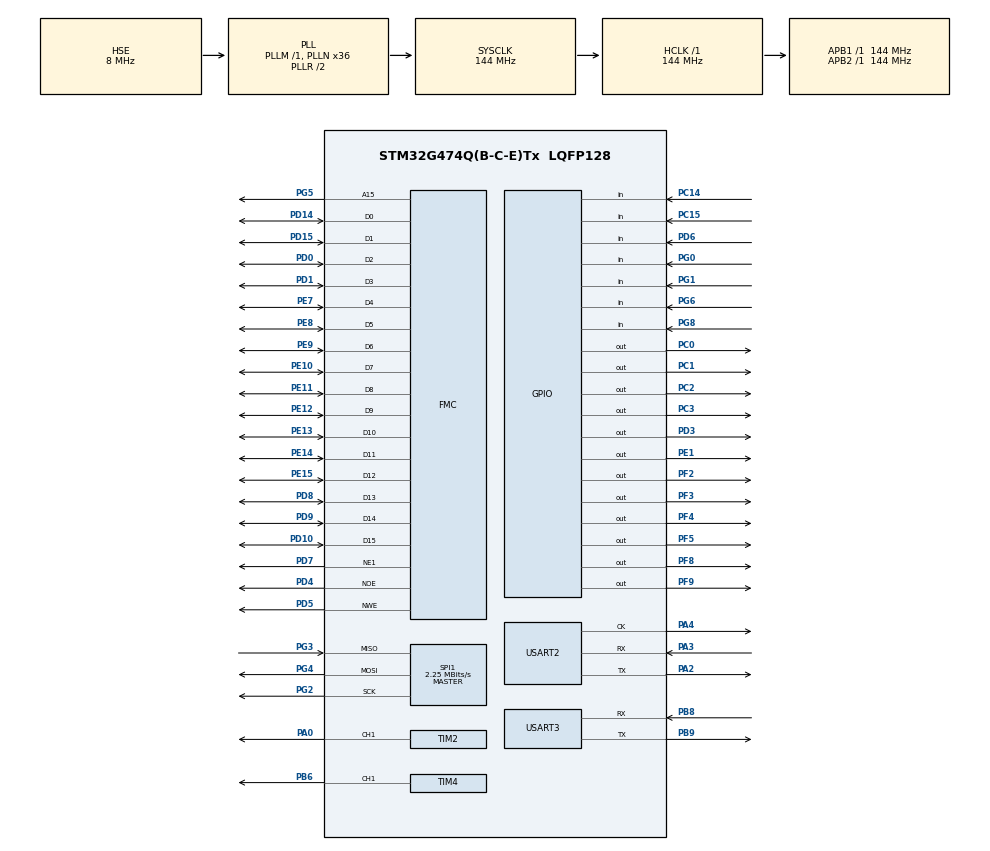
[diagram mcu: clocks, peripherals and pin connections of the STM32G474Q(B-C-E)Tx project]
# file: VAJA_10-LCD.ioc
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FMC.AddressSetupTime1=1
FMC.BusTurnAroundDuration1=1
FMC.DataHoldTime1=1
FMC.DataSetupTime1=1
Mcu.Family=STM32G4
Mcu.Name=STM32G474Q(B-C-E)Tx
Mcu.Package=LQFP128
NVIC.PriorityGroup=NVIC_PRIORITYGROUP_4
NVIC.TIM6_DAC_IRQn=true\:15\:0\:true\:false\:true\:true\:true\:true
NVIC.USART3_IRQn=true\:0\:0\:false\:false\:true\:true\:true\:true
PA0.Signal=S_TIM2_CH1
PA2.Mode=Synchronous
PA2.Signal=USART2_TX
PA3.Mode=Synchronous
PA3.Signal=USART2_RX
PA4.Mode=Synchronous
PA4.Signal=USART2_CK
PB6.Signal=S_TIM4_CH1
PB8-BOOT0.Mode=Asynchronous
PB8-BOOT0.Signal=USART3_RX
PB9.Mode=Asynchronous
PB9.Signal=USART3_TX
PC0.Signal=GPIO_Output
PC1.Signal=GPIO_Output
PC14-OSC32_IN.GPIO_PuPd=GPIO_PULLUP
PC14-OSC32_IN.Signal=GPIO_Input
PC15-OSC32_OUT.GPIO_PuPd=GPIO_PULLUP
PC15-OSC32_OUT.Signal=GPIO_Input
PC2.Signal=GPIO_Output
PC3.Signal=GPIO_Output
PD0.Signal=FMC_D2_DA2
PD1.Signal=FMC_D3_DA3
PD10.Signal=FMC_D15_DA15
PD14.Signal=FMC_D0_DA0
PD15.Signal=FMC_D1_DA1
PD3.Signal=GPIO_Output
PD4.Signal=FMC_NOE
PD5.Signal=FMC_NWE
PD6.Signal=GPIO_Input
PD7.Mode=NorPsramChipSelect1_1
PD7.Signal=FMC_NE1
PD8.Signal=FMC_D13_DA13
PD9.Signal=FMC_D14_DA14
PE1.Signal=GPIO_Output
PE10.Signal=FMC_D7_DA7
PE11.Signal=FMC_D8_DA8
PE12.Signal=FMC_D9_DA9
PE13.Signal=FMC_D10_DA10
PE14.Signal=FMC_D11_DA11
PE15.Signal=FMC_D12_DA12
PE7.Signal=FMC_D4_DA4
PE8.Signal=FMC_D5_DA5
PE9.Signal=FMC_D6_DA6
PF0-OSC_IN.Mode=HSE-External-Clock-Source
PF0-OSC_IN.Signal=RCC_OSC_IN
PF2.Signal=GPIO_Output
PF3.Signal=GPIO_Output
PF4.Signal=GPIO_Output
PF5.Signal=GPIO_Output
PF8.Signal=GPIO_Output
PF9.Signal=GPIO_Output
PG0.GPIO_PuPd=GPIO_PULLUP
PG0.Signal=GPIO_Input
PG1.GPIO_PuPd=GPIO_PULLUP
PG1.Signal=GPIO_Input
PG2.Mode=Full_Duplex_Master
PG2.Signal=SPI1_SCK
PG3.Mode=Full_Duplex_Master
PG3.Signal=SPI1_MISO
PG4.Mode=Full_Duplex_Master
PG4.Signal=SPI1_MOSI
PG5.Signal=FMC_A15
PG6.GPIO_PuPd=GPIO_PULLUP
PG6.Signal=GPIO_Input
PG8.GPIO_PuPd=GPIO_PULLUP
PG8.Signal=GPIO_Input
ProjectManager.HeapSize=0x200
ProjectManager.StackSize=0x400
ProjectManager.TargetToolchain=STM32CubeIDE
RCC.ADC12Freq_Value=144000000
RCC.ADC345Freq_Value=144000000
RCC.AHBFreq_Value=144000000
RCC.APB1Freq_Value=144000000
RCC.APB1TimFreq_Value=144000000
RCC.APB2Freq_Value=144000000
RCC.APB2TimFreq_Value=144000000
RCC.CortexFreq_Value=144000000
RCC.EXTERNAL_CLOCK_VALUE=12288000
RCC.HCLKFreq_Value=144000000
RCC.HSE_VALUE=8000000
RCC.HSI48_VALUE=48000000
RCC.HSI_VALUE=16000000
RCC.LSE_VALUE=32768
RCC.PLLN=36
RCC.PLLQ=RCC_PLLQ_DIV6
RCC.PLLSourceVirtual=RCC_PLLSOURCE_HSE
RCC.SYSCLKFreq_VALUE=144000000
RCC.SYSCLKSource=RCC_SYSCLKSOURCE_PLLCLK
RCC.USBFreq_Value=48000000
RCC.VCOOutputFreq_Value=288000000
SH.FMC_A15.0=FMC_A15,A15_1
SH.FMC_D0_DA0.0=FMC_D0,16b-d1
SH.FMC_D10_DA10.0=FMC_D10,16b-d1
SH.FMC_D11_DA11.0=FMC_D11,16b-d1
SH.FMC_D12_DA12.0=FMC_D12,16b-d1
SH.FMC_D13_DA13.0=FMC_D13,16b-d1
SH.FMC_D14_DA14.0=FMC_D14,16b-d1
SH.FMC_D15_DA15.0=FMC_D15,16b-d1
SH.FMC_D1_DA1.0=FMC_D1,16b-d1
SH.FMC_D2_DA2.0=FMC_D2,16b-d1
SH.FMC_D3_DA3.0=FMC_D3,16b-d1
SH.FMC_D4_DA4.0=FMC_D4,16b-d1
SH.FMC_D5_DA5.0=FMC_D5,16b-d1
SH.FMC_D6_DA6.0=FMC_D6,16b-d1
SH.FMC_D7_DA7.0=FMC_D7,16b-d1
SH.FMC_D8_DA8.0=FMC_D8,16b-d1
SH.FMC_D9_DA9.0=FMC_D9,16b-d1
SH.FMC_NOE.0=FMC_NOE,Lcd1
SH.FMC_NWE.0=FMC_NWE,Lcd1
SH.S_TIM2_CH1.0=TIM2_CH1,PWM Generation1 CH1
SH.S_TIM4_CH1.0=TIM4_CH1,PWM Generation1 CH1
SPI1.BaudRatePrescaler=SPI_BAUDRATEPRESCALER_64
SPI1.CalculateBaudRate=2.25 MBits/s
SPI1.DataSize=SPI_DATASIZE_8BIT
SPI1.Direction=SPI_DIRECTION_2LINES
SPI1.Mode=SPI_MODE_MASTER
SPI1.NSSPMode=SPI_NSS_PULSE_DISABLE
SPI1.VirtualType=VM_MASTER
TIM2.Channel-PWM\ Generation1\ CH1=TIM_CHANNEL_1
TIM2.PeriodNoDither=10000
TIM2.Prescaler=14400-1
TIM4.Channel-PWM\ Generation1\ CH1=TIM_CHANNEL_1
TIM4.PeriodNoDither=99
TIM4.Prescaler=14399
TIM6.PeriodNoDither=59999
TIM6.Prescaler=1199
USART2.VirtualMode-Synchronous=VM_SYNC
USART3.OverrunDisableParam=ADVFEATURE_OVERRUN_DISABLE
USART3.VirtualMode-Asynchronous=VM_ASYNC
VP_SYS_VS_DBSignals.Mode=DisableDeadBatterySignals
VP_TIM2_VS_ClockSourceINT.Mode=Internal
VP_TIM4_VS_ClockSourceINT.Mode=Internal
VP_TIM6_VS_ClockSourceINT.Mode=Enable_Timer
board=custom

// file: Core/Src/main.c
/* USER CODE BEGIN Header */
/**
  ******************************************************************************
  * @file           : main.c
  * @brief          : Main program body
  ******************************************************************************
  * @attention
  *
  * Copyright (c) 2022 STMicroelectronics.
  * All rights reserved.
  *
  * This software is licensed under terms that can be found in the LICENSE file
  * in the root directory of this software component.
  * If no LICENSE file comes with this software, it is provided AS-IS.
  *
  ******************************************************************************
  */
/* USER CODE END Header */
#include <PI.h>
#include "main.h"
#include "spi.h"
#include "tim.h"
#include "usart.h"
#include "gpio.h"
#include "fmc.h"

/* USER CODE BEGIN Includes */
#include "temperature.h"
#include "kbd.h"
#include "LED.h"
#include "menu.h"
#include "periodic_services.h"
#include "SCI.h"
/* USER CODE END Includes */

void SystemClock_Config(void);

int main(void)
{

  /* MCU Configuration--------------------------------------------------------*/

  /* Reset of all peripherals, Initializes the Flash interface and the Systick. */
  HAL_Init();

  /* Configure the system clock */
  SystemClock_Config();

  /* Initialize all configured peripherals */
  MX_GPIO_Init();
  MX_USART3_UART_Init();
  MX_TIM6_Init();
  MX_TIM4_Init();
  MX_FMC_Init();
  MX_SPI1_Init();
  MX_USART2_Init();
  MX_TIM2_Init();
  /* USER CODE BEGIN 2 */
  LED_init();
  KBD_init();
  SCI_init();
  PSERV_init();
  PSERV_enable();
  LCD_Init();
  LCD_uGUI_init();
  textInit();
  buttonInit();
  sliderInit();
  HAL_TIM_PWM_Start(&htim2, TIM_CHANNEL_1);
  /* USER CODE END 2 */

  /* Infinite loop */
  /* USER CODE BEGIN WHILE */
  while (1)
  {
	  menu();
    /* USER CODE END WHILE */

  }
}

void SystemClock_Config(void)
{
  RCC_OscInitTypeDef RCC_OscInitStruct = {0};
  RCC_ClkInitTypeDef RCC_ClkInitStruct = {0};

  /** Configure the main internal regulator output voltage
  */
  HAL_PWREx_ControlVoltageScaling(PWR_REGULATOR_VOLTAGE_SCALE1);

  /** Initializes the RCC Oscillators according to the specified parameters
  * in the RCC_OscInitTypeDef structure.
  */
  RCC_OscInitStruct.OscillatorType = RCC_OSCILLATORTYPE_HSE;
  RCC_OscInitStruct.HSEState = RCC_HSE_BYPASS;
  RCC_OscInitStruct.PLL.PLLState = RCC_PLL_ON;
  RCC_OscInitStruct.PLL.PLLSource = RCC_PLLSOURCE_HSE;
  RCC_OscInitStruct.PLL.PLLM = RCC_PLLM_DIV1;
  RCC_OscInitStruct.PLL.PLLN = 36;
  RCC_OscInitStruct.PLL.PLLP = RCC_PLLP_DIV2;
  RCC_OscInitStruct.PLL.PLLQ = RCC_PLLQ_DIV6;
  RCC_OscInitStruct.PLL.PLLR = RCC_PLLR_DIV2;
  if (HAL_RCC_OscConfig(&RCC_OscInitStruct) != HAL_OK)
  {
    Error_Handler();
  }

  /** Initializes the CPU, AHB and APB buses clocks
  */
  RCC_ClkInitStruct.ClockType = RCC_CLOCKTYPE_HCLK|RCC_CLOCKTYPE_SYSCLK
                              |RCC_CLOCKTYPE_PCLK1|RCC_CLOCKTYPE_PCLK2;
  RCC_ClkInitStruct.SYSCLKSource = RCC_SYSCLKSOURCE_PLLCLK;
  RCC_ClkInitStruct.AHBCLKDivider = RCC_SYSCLK_DIV1;
  RCC_ClkInitStruct.APB1CLKDivider = RCC_HCLK_DIV1;
  RCC_ClkInitStruct.APB2CLKDivider = RCC_HCLK_DIV1;

  if (HAL_RCC_ClockConfig(&RCC_ClkInitStruct, FLASH_LATENCY_4) != HAL_OK)
  {
    Error_Handler();
  }
}

void Error_Handler(void)
{
  __disable_irq();
  while (1)
  {
  }
}
